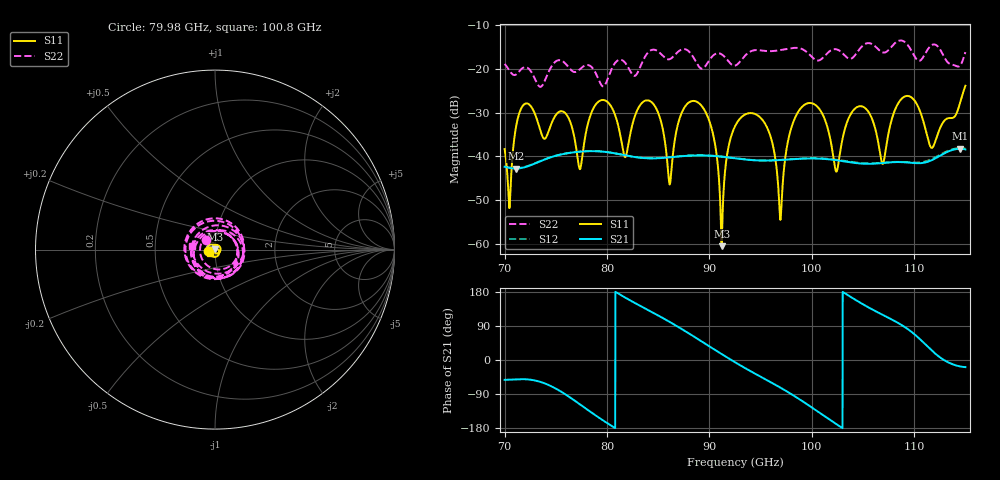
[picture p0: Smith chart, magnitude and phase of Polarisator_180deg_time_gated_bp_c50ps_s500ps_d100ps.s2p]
# Hz S RI R 1.000000
! Metas.Vna.Tools, 2.4.7898.19887
! Metas.Vna.Data, 2.4.7898.19873
! Created: UTC 2021.09.30 14:30:59
! FREQ  re:S1,1  im:S1,1  re:S2,1  im:S2,1  re:S1,2  im:S1,2  re:S2,2  im:S2,2
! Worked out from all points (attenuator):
!   2251 points, 70 GHz to 115 GHz, reference 1 ohm
!   highest |S21| = -38.28 dB at 114.5 GHz (marker M1); lowest = -42.8 dB at 71.08 GHz (marker M2)
!   lowest |S11| = -60.6 dB at 91.2 GHz (marker M3), VSWR 1.00, Z = 1 + j0.00182 ohm
!   |S11| at or under -10 dB: start of sweep to end of sweep
!   |S22| runs from -24.1 to -13.5 dB; largest |S21 - S12| = 0.0016
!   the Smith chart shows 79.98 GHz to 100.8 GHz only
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7e10  -0.012 -0.00152  0.00463 -0.00601  0.00462 -0.00614  0.0947 -0.0639
7.048e10  0.00122 0.00224  0.00455 -0.00578  0.00454 -0.0059  -0.00865 -0.0952
7.108e10  0.0131 -0.0159  0.00456 -0.00563  0.00455 -0.00574  -0.0857 0.0043
7.572e10  -0.0315 -0.00809  0.000581 -0.0106  0.000613 -0.0106  0.0932 -0.078
7.75e10  0.00835 -0.00035  -0.00563 -0.00984  -0.00563 -0.00986  -0.00746 0.1025
7.926e10  -0.0303 -0.0305  -0.0102 -0.00516  -0.0102 -0.00517  -0.0229 -0.0684
8.176e10  -0.00975 -0.000748  -0.00992 0.00267  -0.00993 0.00266  0.0497 -0.1073
8.5e10  -0.0124 0.0289  -0.00438 0.00843  -0.00445 0.00847  -0.0283 -0.1559
8.612e10  0.00451 -0.00151  -0.00178 0.00956  -0.00183 0.00964  -0.0663 0.1113
8.742e10  -0.0324 -0.00982  0.0018 0.00989  0.00179 0.00997  0.1458 -0.0848
8.942e10  -0.00409 0.0351  0.00711 0.00735  0.00718 0.00736  0.00629 0.1021
9.12e10  -0.000209 0.000912  0.00952 0.00266  0.00959 0.00263  -0.0738 -0.1271
9.25e10  -0.00622 0.0212  0.00943 -0.000969  0.00948 -0.000988  0.0264 0.106
9.542e10  0.0102 -0.0215  0.00571 -0.00687  0.00577 -0.00684  -0.00322 0.1608
9.694e10  -0.00105 0.00154  0.00265 -0.00868  0.00269 -0.00869  0.0049 -0.1645
9.804e10  0.0213 -0.00492  -0.000111 -0.00926  -0.000117 -0.0093  -0.1417 0.0994
1e11  -0.011 -0.039  -0.00546 -0.00771  -0.00556 -0.00775  0.0318 -0.1337
1.0238e11  -0.00434 -0.00508  -0.00886 -0.00174  -0.00897 -0.00173  0.1669 -0.0207
1.0436e11  -0.0214 -0.0292  -0.00769 0.00325  -0.00784 0.00321  -0.0413 0.1452
1.075e11  -0.00653 -0.0174  -0.00307 0.00792  -0.00338 0.00787  -0.0443 0.1591
1.1448e11  -0.0409 -0.00293  0.0117 -0.00355  0.0122 -0.00206  0.1091 0.000949
1.15e11  -0.0639 -0.00679  0.0114 -0.00386  0.012 -0.00239  0.0494 -0.1479
